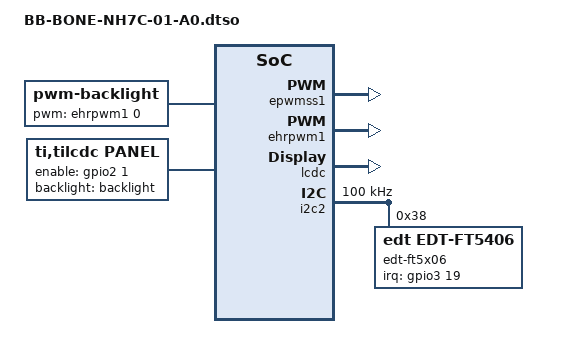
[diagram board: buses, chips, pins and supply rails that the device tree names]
// SPDX-License-Identifier: GPL-2.0-only
/*
 * Copyright (C) 2012 Texas Instruments Incorporated - https://www.ti.com/
 */

/dts-v1/;
/plugin/;

#include <dt-bindings/gpio/gpio.h>
#include <dt-bindings/interrupt-controller/irq.h>
#include <dt-bindings/pinctrl/am33xx.h>

/*
 * Helper to show loaded overlays under: /proc/device-tree/chosen/overlays/
 */
&{/chosen} {
	overlays {
		BB-BONE-NH7C-01-A0.kernel = __TIMESTAMP__;
	};
};

/*
 * Free up the pins used by the cape from the pinmux helpers.
 */
&ocp {
	P8_45_pinmux { status = "disabled"; };	/* lcd: lcd_data0 */
	P8_46_pinmux { status = "disabled"; };	/* lcd: lcd_data1 */
	P8_43_pinmux { status = "disabled"; };	/* lcd: lcd_data2 */
	P8_44_pinmux { status = "disabled"; };	/* lcd: lcd_data3 */
	P8_41_pinmux { status = "disabled"; };	/* lcd: lcd_data4 */
	P8_42_pinmux { status = "disabled"; };	/* lcd: lcd_data5 */
	P8_39_pinmux { status = "disabled"; };	/* lcd: lcd_data6 */
	P8_40_pinmux { status = "disabled"; };	/* lcd: lcd_data7 */
	P8_37_pinmux { status = "disabled"; };	/* lcd: lcd_data8 */
	P8_38_pinmux { status = "disabled"; };	/* lcd: lcd_data9 */
	P8_36_pinmux { status = "disabled"; };	/* lcd: lcd_data10 */
	P8_34_pinmux { status = "disabled"; };	/* lcd: lcd_data11 */
	P8_35_pinmux { status = "disabled"; };	/* lcd: lcd_data12 */
	P8_33_pinmux { status = "disabled"; };	/* lcd: lcd_data13 */
	P8_31_pinmux { status = "disabled"; };	/* lcd: lcd_data14 */
	P8_32_pinmux { status = "disabled"; };	/* lcd: lcd_data15 */

	P8_15_pinmux { status = "disabled"; };	/* gpmc_ad15.lcd_data16 */
	P8_16_pinmux { status = "disabled"; };	/* gpmc_ad14.lcd_data17 */
	P8_11_pinmux { status = "disabled"; };	/* gpmc_ad13.lcd_data18 */
	P8_12_pinmux { status = "disabled"; };	/* gpmc_ad12.lcd_data19 */
	P8_17_pinmux { status = "disabled"; };	/* gpmc_ad11.lcd_data20 */
	P8_14_pinmux { status = "disabled"; };	/* gpmc_ad10.lcd_data21 */
	P8_13_pinmux { status = "disabled"; };	/* gpmc_ad9.lcd_data22 */
	P8_19_pinmux { status = "disabled"; };	/* gpmc_ad8.lcd_data23 */

	P8_27_pinmux { status = "disabled"; };	/* lcd: lcd_vsync */
	P8_29_pinmux { status = "disabled"; };	/* lcd: lcd_hsync */
	P8_28_pinmux { status = "disabled"; };	/* lcd: lcd_pclk */
	P8_30_pinmux { status = "disabled"; };	/* lcd: lcd_ac_bias_en */

	P8_18_pinmux { status = "disabled"; };	/* lcd: enable */

	P9_14_pinmux { status = "disabled"; };	/* pwm: ehrpwm1a */

	P9_27_pinmux { status = "disabled"; };	/* ft5336: gpio3_15 */
};

&am33xx_pinmux {
	bb_lcd_pwm_backlight_pins: pinmux_bb_lcd_pwm_backlight_pins {
		pinctrl-single,pins = <
			AM33XX_PADCONF(AM335X_PIN_GPMC_A2, PIN_OUTPUT_PULLDOWN, MUX_MODE6)	/* P9_14: gpmc_a2.ehrpwm1a */
		>;
	};

	bb_lcd_lcd_pins: pinmux_bb_lcd_lcd_pins {
		pinctrl-single,pins = <
			/*LCD enable */
			AM33XX_PADCONF(AM335X_PIN_GPMC_CLK, PIN_OUTPUT_PULLUP, MUX_MODE7)	/* gpmc_clk_mux0.gpio2_1 */

			AM33XX_PADCONF(AM335X_PIN_LCD_DATA0, PIN_OUTPUT, MUX_MODE0)
			AM33XX_PADCONF(AM335X_PIN_LCD_DATA1, PIN_OUTPUT, MUX_MODE0)
			AM33XX_PADCONF(AM335X_PIN_LCD_DATA2, PIN_OUTPUT, MUX_MODE0)
			AM33XX_PADCONF(AM335X_PIN_LCD_DATA3, PIN_OUTPUT, MUX_MODE0)
			AM33XX_PADCONF(AM335X_PIN_LCD_DATA4, PIN_OUTPUT, MUX_MODE0)
			AM33XX_PADCONF(AM335X_PIN_LCD_DATA5, PIN_OUTPUT, MUX_MODE0)
			AM33XX_PADCONF(AM335X_PIN_LCD_DATA6, PIN_OUTPUT, MUX_MODE0)
			AM33XX_PADCONF(AM335X_PIN_LCD_DATA7, PIN_OUTPUT, MUX_MODE0)
			AM33XX_PADCONF(AM335X_PIN_LCD_DATA8, PIN_OUTPUT, MUX_MODE0)
			AM33XX_PADCONF(AM335X_PIN_LCD_DATA9, PIN_OUTPUT, MUX_MODE0)
			AM33XX_PADCONF(AM335X_PIN_LCD_DATA10, PIN_OUTPUT, MUX_MODE0)
			AM33XX_PADCONF(AM335X_PIN_LCD_DATA11, PIN_OUTPUT, MUX_MODE0)
			AM33XX_PADCONF(AM335X_PIN_LCD_DATA12, PIN_OUTPUT, MUX_MODE0)
			AM33XX_PADCONF(AM335X_PIN_LCD_DATA13, PIN_OUTPUT, MUX_MODE0)
			AM33XX_PADCONF(AM335X_PIN_LCD_DATA14, PIN_OUTPUT, MUX_MODE0)
			AM33XX_PADCONF(AM335X_PIN_LCD_DATA15, PIN_OUTPUT, MUX_MODE0)

			AM33XX_PADCONF(AM335X_PIN_GPMC_AD15, PIN_OUTPUT, MUX_MODE1)	/* P8_15: gpmc_ad15.lcd_data16 */
			AM33XX_PADCONF(AM335X_PIN_GPMC_AD14, PIN_OUTPUT, MUX_MODE1)	/* P8_16: gpmc_ad14.lcd_data17 */
			AM33XX_PADCONF(AM335X_PIN_GPMC_AD13, PIN_OUTPUT, MUX_MODE1)	/* P8_11: gpmc_ad13.lcd_data18 */
			AM33XX_PADCONF(AM335X_PIN_GPMC_AD12, PIN_OUTPUT, MUX_MODE1)	/* P8_12: gpmc_ad12.lcd_data19 */
			AM33XX_PADCONF(AM335X_PIN_GPMC_AD11, PIN_OUTPUT, MUX_MODE1)	/* P8_17: gpmc_ad11.lcd_data20 */
			AM33XX_PADCONF(AM335X_PIN_GPMC_AD10, PIN_OUTPUT, MUX_MODE1)	/* P8_14: gpmc_ad10.lcd_data21 */
			AM33XX_PADCONF(AM335X_PIN_GPMC_AD9, PIN_OUTPUT, MUX_MODE1)	/* P8_13: gpmc_ad9.lcd_data22 */
			AM33XX_PADCONF(AM335X_PIN_GPMC_AD8, PIN_OUTPUT, MUX_MODE1)	/* P8_19: gpmc_ad8.lcd_data23 */

			AM33XX_PADCONF(AM335X_PIN_LCD_VSYNC, PIN_OUTPUT, MUX_MODE0)
			AM33XX_PADCONF(AM335X_PIN_LCD_HSYNC, PIN_OUTPUT, MUX_MODE0)
			AM33XX_PADCONF(AM335X_PIN_LCD_PCLK, PIN_OUTPUT, MUX_MODE0)
			AM33XX_PADCONF(AM335X_PIN_LCD_AC_BIAS_EN, PIN_OUTPUT, MUX_MODE0)
		>;
	};

	edt_ft5x06_pins: pinmux_edt_ft5x06_pins {
		pinctrl-single,pins = <
			AM33XX_PADCONF(AM335X_PIN_MCASP0_FSR, PIN_INPUT_PULLDOWN, MUX_MODE7)	/* mcasp0_fsr.gpio3_19 */
		>;
	};
};

&epwmss1 {
	status = "okay";
};

&ehrpwm1 {
	pinctrl-names = "default";
	pinctrl-0 = <&bb_lcd_pwm_backlight_pins>;
	status = "okay";
};

&lcdc {
	status = "okay";

	blue-and-red-wiring = "crossed";

	//FIXME - LCD doesn't init...
	//port {
	//	lcdc_0: endpoint@0 {
	//		remote-endpoint = <&panel_0>;
	//	};
	//};
};

&i2c2 {
	status = "okay";

	clock-frequency = <100000>;

	#address-cells = <1>;
	#size-cells = <0>;

	edt-ft5x06@38 {
		status = "okay";
		compatible = "edt,edt-ft5406";
		reg = <0x38>;
		pinctrl-names = "default";
		pinctrl-0 = <&edt_ft5x06_pins>;
		interrupt-parent = <&gpio3>;
		interrupts = <19 0>;
		//reset-gpios = <&gpio3 14 GPIO_ACTIVE_LOW>;

		touchscreen-size-x = <800>;
		touchscreen-size-y = <480>;
		//touchscreen-swapped-x-y;
	};
};

&{/} {
	backlight: backlight {
		status = "okay";
		compatible = "pwm-backlight";
		pwms = <&ehrpwm1 0 500000 0>;
		brightness-levels = <
			0  1  2  3  4  5  6  7  8  9
			10 11 12 13 14 15 16 17 18 19
			20 21 22 23 24 25 26 27 28 29
			30 31 32 33 34 35 36 37 38 39
			40 41 42 43 44 45 46 47 48 49
			50 51 52 53 54 55 56 57 58 59
			60 61 62 63 64 65 66 67 68 69
			70 71 72 73 74 75 76 77 78 79
			80 81 82 83 84 85 86 87 88 89
			90 91 92 93 94 95 96 97 98 99
			100
		>;
		default-brightness-level = <100>;
	};

	/* NHD-7.0-800480EF-ATXL# */
	panel {
		status = "okay";
		compatible = "ti,tilcdc,panel";
		pinctrl-names = "default";
		pinctrl-0 = <&bb_lcd_lcd_pins>;
		backlight = <&backlight>;
		enable-gpios = <&gpio2 1 0>;

		//FIXME - LCD doesn't init...
		//port {
		//	panel_0: endpoint@0 {
		//		remote-endpoint = <&lcdc_0>;
		//	};
		//};

		panel-info {
			ac-bias           = <255>;
			ac-bias-intrpt    = <0>;
			dma-burst-sz      = <16>;
			bpp               = <32>;
			fdd               = <0x80>;
			tft-alt-mode      = <0>;
			stn-565-mode      = <0>;
			mono-8bit-mode    = <0>;
			sync-edge         = <0>;
			sync-ctrl         = <0>;
			raster-order      = <0>;
			fifo-th           = <0>;
		};

		display-timings {
			native-mode = <&timing0>;
			timing0: 800x480 {
				clock-frequency = <45000000>;
				hactive = <800>;
				vactive = <480>;
				hfront-porch = <40>;
				hback-porch = <40>;
				hsync-len = <48>;
				vback-porch = <29>;
				vfront-porch = <13>;
				vsync-len = <3>;
				hsync-active = <0>;
				vsync-active = <0>;
			};
		};
	};
};
